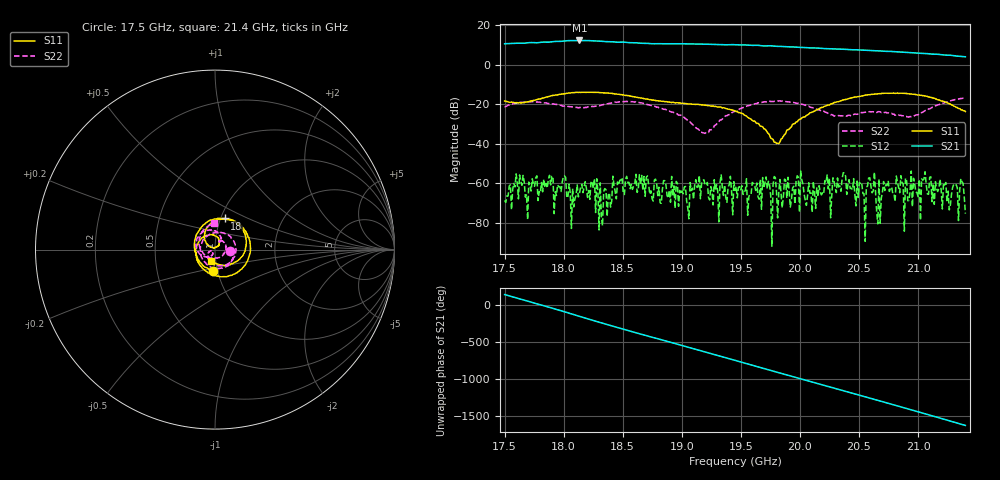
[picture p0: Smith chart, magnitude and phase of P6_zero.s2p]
!Created with skrf (http://scikit-rf.org).
# GHz S RI R 50.0
!freq ReS11 ImS11 ReS21 ImS21 ReS12 ImS12 ReS22 ImS22
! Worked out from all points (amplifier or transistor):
!   401 points, 17.5 GHz to 21.4 GHz, reference 50 ohm
!   highest |S21| = 12.1 dB at 18.13 GHz (marker M1)
!   |S21| within 3 dB of that: start of sweep to 19.83 GHz
!   unconditionally stable (mu >= 1): start of sweep to end of sweep
!   at 18.14 GHz: K = 149.99, MAG = 12.3 dB, |S12| = -62.1 dB
!   at 19.45 GHz: K = 234.89, MAG = 10.0 dB, |S12| = -63.5 dB
!   at 21.4 GHz: K = 1796.50, MAG = 4.0 dB, |S12| = -75.3 dB
!   S11 on the Smith chart (normalised r, x): 17.5 GHz: 0.95, -0.23; 18 GHz: 1.05, +0.38; 21.4 GHz: 0.95, -0.12
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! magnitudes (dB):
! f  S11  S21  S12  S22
! 17.5 GHz  -18.4  10.5  -68.6  -21.5
! 17.65 GHz  -19.3  10.7  -60.9  -19.2
! 17.7 GHz  -18.8  11.0  -78.3  -18.9
! 18 GHz  -14.8  11.8  -56.6  -21.0
! 18.08 GHz  -14.2  12.0  -62.7  -21.4
! 18.13 GHz  -14.0  12.1  -64.8  -21.7
! 18.15 GHz  -14.0  12.1  -60.4  -21.7
! 18.31 GHz  -14.2  11.8  -59.7  -20.6
! 18.48 GHz  -15.1  11.3  -58.4  -18.8
! 18.81 GHz  -18.4  10.5  -61.9  -21.8
! 19.2 GHz  -20.5  10.3  -60.8  -34.8
! 19.45 GHz  -23.4  10.0  -63.5  -23.6
! 19.8 GHz  -39.8  9.2  -63.9  -18.5
! 20.1 GHz  -24.0  8.4  -74.6  -21.8
! 20.58 GHz  -15.3  7.1  -57.3  -23.9
! 20.67 GHz  -14.7  6.9  -57.9  -23.8
! 20.76 GHz  -14.5  6.6  -64.0  -24.6
! 21 GHz  -15.4  5.8  -66.8  -25.4
! 21.05 GHz  -15.7  5.6  -57.8  -23.6
! 21.26 GHz  -19.7  4.7  -73.4  -18.5
! 21.37 GHz  -22.9  4.1  -59.2  -17.2
! 21.4 GHz  -23.7  3.9  -75.3  -16.7
